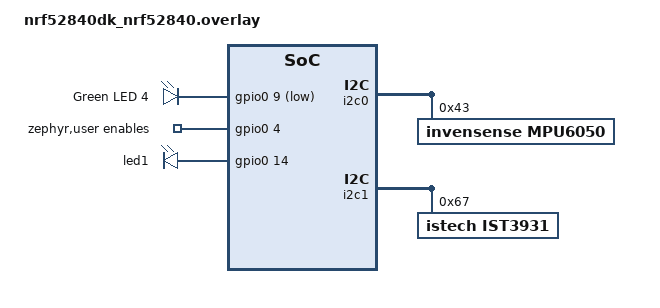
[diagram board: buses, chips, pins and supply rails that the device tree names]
// To get started, press Ctrl+Space to bring up the completion menu and view the available nodes.

// You can also use the buttons in the sidebar to perform actions on nodes.
// Actions currently available include:

// * Enabling / disabling the node
// * Adding the bus to a bus
// * Removing the node
// * Connecting ADC channels

// For more help, browse the DeviceTree documentation at https://docs.zephyrproject.org/latest/guides/dts/index.html
// You can also visit the nRF DeviceTree extension documentation at https://docs.nordicsemi.com/bundle/nrf-connect-vscode/page/guides/ncs_configure_app.html#devicetree-support-in-the-extension

/ {
	leds {
		led4: led_4 {
			gpios = <&gpio0 9 GPIO_ACTIVE_LOW>;
			label = "Green LED 4";
		};
	};

	zephyr,user {
		enables-gpios = <&gpio0 4 0>;
	};
};

&led1 {
	gpios = <&gpio0 14 0>;
};

&spi1 {
	status = "disabled";
};
/delete-node/ &{/pin-controller/spi3_default/group1/};

&i2c0 {
	mpu6050@43 {
		compatible = "invensense,mpu6050";
		reg = <0x43>;
	};
};

&i2c1 {
	ist3931@67 {
		compatible = "istech,ist3931";
		reg = <0x67>;
	};
};
